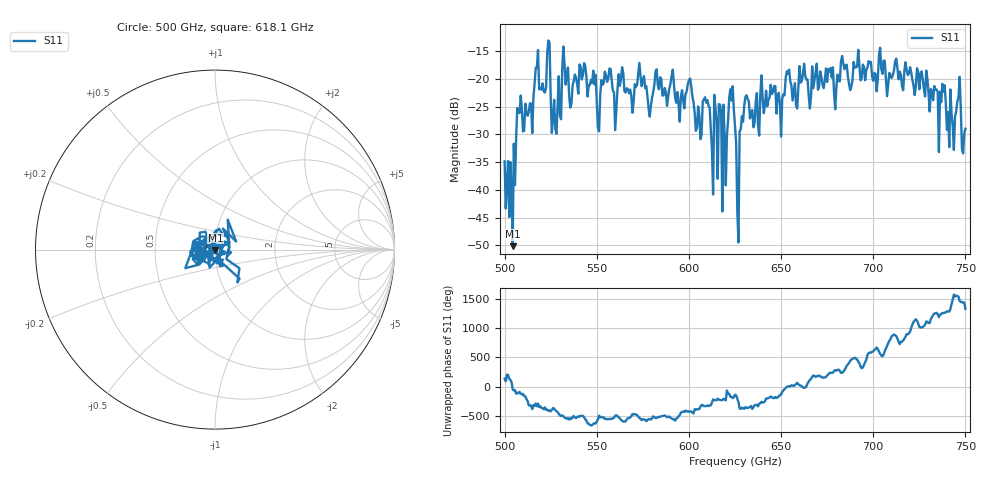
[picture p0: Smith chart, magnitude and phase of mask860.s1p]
!Created with skrf (http://scikit-rf.org).
# GHz S MA R 50.0
!freq magS11 angS11
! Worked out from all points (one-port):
!   401 points, 500 GHz to 750 GHz, reference 50 ohm
!   lowest |S11| = -50.2 dB at 504.4 GHz (marker M1), VSWR 1.01, Z = 50.2 - j0.217 ohm
!   |S11| at or under -10 dB: start of sweep to end of sweep
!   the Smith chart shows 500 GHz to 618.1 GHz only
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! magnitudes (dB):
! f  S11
! 500 GHz  -34.9
! 504.4 GHz  -50.2
! 508.1 GHz  -26.2
! 513.8 GHz  -24.4
! 516.9 GHz  -18.0
! 523.8 GHz  -13.1
! 526.9 GHz  -23.8
! 531.2 GHz  -18.4
! 542.5 GHz  -19.3
! 551.2 GHz  -29.5
! 562.5 GHz  -21.3
! 593.8 GHz  -22.4
! 600.6 GHz  -19.9
! 605.6 GHz  -26.6
! 609.4 GHz  -24.3
! 611.9 GHz  -29.1
! 615 GHz  -27.8
! 619.4 GHz  -30.3
! 623.1 GHz  -23.9
! 625 GHz  -28.4
! 626.9 GHz  -49.5
! 631.2 GHz  -23.0
! 656.2 GHz  -23.9
! 687.5 GHz  -22.0
! 718.8 GHz  -19.3
! 742.5 GHz  -26.4
! 746.2 GHz  -23.4
! 750 GHz  -29.0
